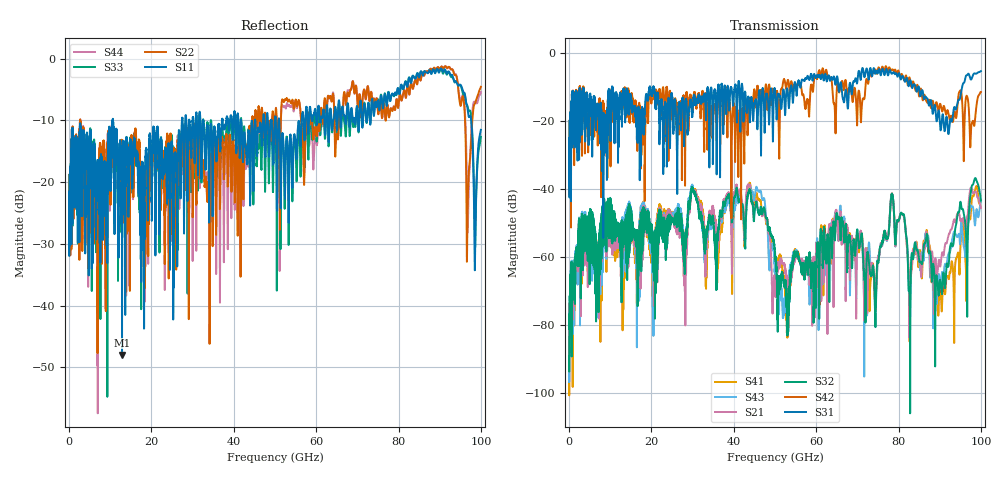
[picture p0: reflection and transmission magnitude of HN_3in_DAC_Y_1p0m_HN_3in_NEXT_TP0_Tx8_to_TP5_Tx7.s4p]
# GHz S RI R 45
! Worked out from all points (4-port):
!   4000 points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, 25 MHz to 100 GHz, reference 45 ohm
!   strongest paths, dB at 25 MHz, 25.02 GHz, 50.02 GHz, 75.03 GHz, 100 GHz:
!     S31: -38.9, -12.8, -11.0, -5.9, -5.4
!     S42: -38.9, -15.9, -12.9, -4.7, -11.5
!     S32: -89.2, -48.5, -58.5, -61.6, -43.4
!     S21: -88.7, -48.7, -66.3, -60.3, -45.6
!     S43: -87.2, -47.8, -66.7, -60.4, -43.5
!     S41: -88.2, -47.2, -60.2, -61.6, -43.4
!   lowest |S11| = -48.0 dB at 12.88 GHz (marker M1), VSWR 1.01, Z = 45 + j0.358 ohm
!   |S11| at or under -10 dB: start of sweep to 10.57 GHz; 10.66 GHz to 27.41 GHz (16.75 GHz wide, 88 % of centre); 51.03 GHz to 56.49 GHz (5.454 GHz wide, 10.1 % of centre) (the widest 3 of 46)
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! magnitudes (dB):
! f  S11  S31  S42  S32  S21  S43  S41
! 25 MHz  -24.3  -38.9  -38.9  -89.2  -88.7  -87.2  -88.2
! 12.88 GHz  -48.0  -17.8  -11.6  -49.3  -50.3  -48.8  -49.2
! 45.85 GHz  -11.8  -18.0  -10.2  -46.2  -45.5  -40.5  -42.9
! 52.3 GHz  -19.0  -13.7  -7.9  -68.4  -62.7  -73.2  -67.9
! 78.42 GHz  -5.7  -6.1  -4.9  -41.3  -41.4  -41.4  -41.3
! 90.08 GHz  -1.8  -21.1  -15.0  -66.6  -62.7  -68.1  -67.9
! 100 GHz  -11.5  -5.4  -11.5  -43.4  -45.6  -43.5  -43.4
